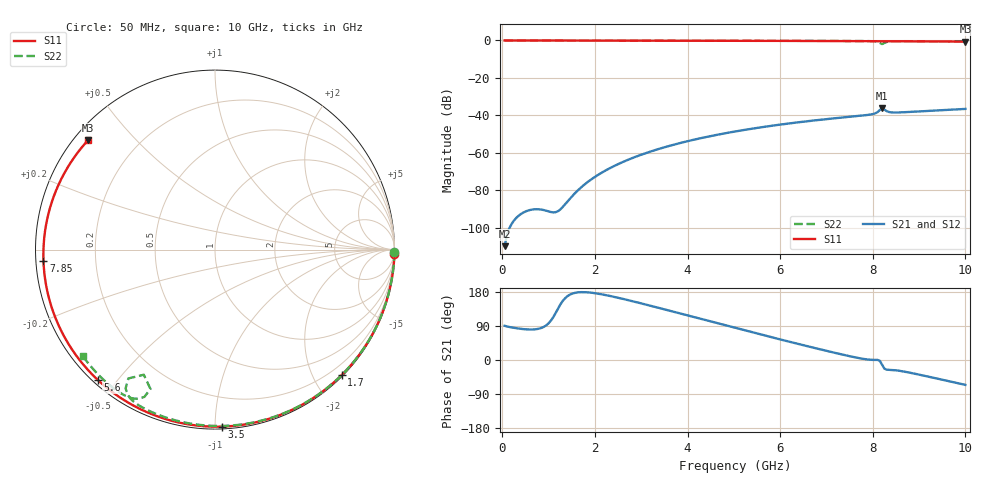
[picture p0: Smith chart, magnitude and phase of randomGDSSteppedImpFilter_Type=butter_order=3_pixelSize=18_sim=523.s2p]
! freq	dB(S11)	phase(S11)	dB(S12)	phase(S12)
!  dB(S21)	phase(S21)	dB(S22)	phase(S22)
!S-par simulation data
#  GHz  S  DB  R 50
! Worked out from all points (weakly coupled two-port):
!   200 points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, 50 MHz to 10 GHz, reference 50 ohm
!   highest |S21| = -36.25 dB at 8.2 GHz (marker M1); lowest = -109.9 dB at 50 MHz (marker M2)
!   lowest |S11| = -0.6 dB at 10 GHz (marker M3), VSWR 29.20, Z = 1.95 + j18.6 ohm
!   |S11| at or under -10 dB: nowhere
!   |S22| runs from -1.9 to 0.0 dB; largest |S21 - S12| = 0
!   S11 on the Smith chart (normalised r, x): 50 MHz: 0, -84; 1.7 GHz: 0.02, -2.43; 3.5 GHz: 0.01, -1.04; 5.6 GHz: 0.01, -0.44; 7.85 GHz: 0.02, -0.03; 10 GHz: 0.04, +0.37
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0.05  -0.00 -1.4  -109.91 90.3  -109.91 90.3  -0.00 -0.8
0.8  -0.03 -21.4  -90.22 82.9  -90.22 82.9  -0.02 -13.0
1.6  -0.05 -42.2  -80.83 177.9  -80.83 177.9  -0.03 -25.9
1.7  -0.06 -44.8  -78.53 179.1  -78.53 179.1  -0.03 -27.5
1.75  -0.06 -46.0  -77.47 179.1  -77.47 179.1  -0.04 -28.3
2.05  -0.07 -53.5  -72.10 175.4  -72.10 175.4  -0.04 -33.0
2.45  -0.08 -63.4  -66.67 165.6  -66.67 165.6  -0.05 -39.3
2.9  -0.09 -74.1  -61.96 152.5  -61.96 152.5  -0.06 -46.2
3.4  -0.11 -85.6  -57.81 136.8  -57.81 136.8  -0.07 -53.8
3.5  -0.11 -87.8  -57.08 133.7  -57.08 133.7  -0.07 -55.3
4.25  -0.14 -104.3  -52.40 109.6  -52.40 109.6  -0.09 -66.4
5.05  -0.18 -121.0  -48.53 84.1  -48.53 84.1  -0.12 -77.8
5.6  -0.21 -132.1  -46.35 66.8  -46.35 66.8  -0.14 -85.4
6.7  -0.28 -153.7  -42.83 33.0  -42.83 33.0  -0.19 -100.3
7.85  -0.38 -176.1  -39.92 1.9  -39.92 1.9  -0.31 -116.6
8.1  -0.40 178.9  -38.34 0.4  -38.34 0.4  -0.73 -122.8
8.15  -0.40 177.9  -37.23 -1.8  -37.23 -1.8  -1.26 -123.9
8.2  -0.41 177.0  -36.25 -12.0  -36.25 -12.0  -1.92 -119.6
8.25  -0.41 176.0  -36.89 -22.6  -36.89 -22.6  -1.35 -114.9
8.35  -0.42 173.9  -38.22 -25.9  -38.22 -25.9  -0.59 -117.1
8.85  -0.47 163.8  -38.11 -34.7  -38.11 -34.7  -0.38 -126.1
10  -0.60 139.2  -36.57 -65.7  -36.57 -65.7  -0.49 -141.1
